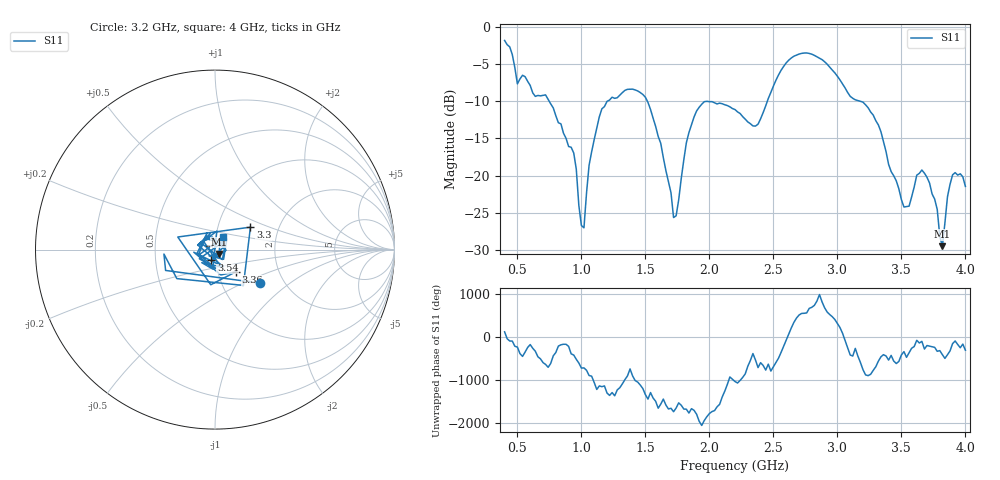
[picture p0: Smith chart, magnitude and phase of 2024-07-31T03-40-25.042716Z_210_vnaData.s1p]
!Created with skrf (http://scikit-rf.org).
# Hz S RI R 50.0
!freq ReS11 ImS11
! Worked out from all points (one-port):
!   181 points, 400 MHz to 4 GHz, reference 50 ohm
!   lowest |S11| = -29.5 dB at 3.82 GHz (marker M1), VSWR 1.07, Z = 52.3 - j2.52 ohm
!   |S11| at or under -10 dB: 747.9 MHz to 1.204 GHz (456 MHz wide, 46.7 % of centre); 1.515 GHz to 2.453 GHz (937.8 MHz wide, 47.3 % of centre); 3.175 GHz to end of sweep
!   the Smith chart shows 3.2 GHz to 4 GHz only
!   S11 on the Smith chart (normalised r, x): 3.2 GHz: 1.51, -0.62; 3.3 GHz: 1.43, +0.38; 3.36 GHz: 1.22, -0.31; 3.54 GHz: 0.96, -0.11; 4 GHz: 1.09, +0.15
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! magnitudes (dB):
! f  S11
! 400 MHz  -1.9
! 500 MHz  -7.7
! 720 MHz  -9.2
! 860 MHz  -14.3
! 940 MHz  -17.0
! 1.02 GHz  -27.0
! 1.06 GHz  -18.6
! 1.14 GHz  -12.1
! 1.3 GHz  -9.2
! 1.5 GHz  -9.5
! 1.62 GHz  -15.7
! 1.72 GHz  -25.6
! 1.76 GHz  -23.3
! 1.82 GHz  -15.6
! 1.9 GHz  -11.3
! 2.2 GHz  -11.1
! 2.38 GHz  -13.1
! 2.66 GHz  -4.0
! 3.1 GHz  -9.4
! 3.2 GHz  -10.1
! 3.3 GHz  -12.6
! 3.36 GHz  -15.4
! 3.54 GHz  -24.2
! 3.56 GHz  -24.1
! 3.66 GHz  -19.3
! 3.82 GHz  -29.5
! 3.9 GHz  -19.9
! 4 GHz  -21.5
